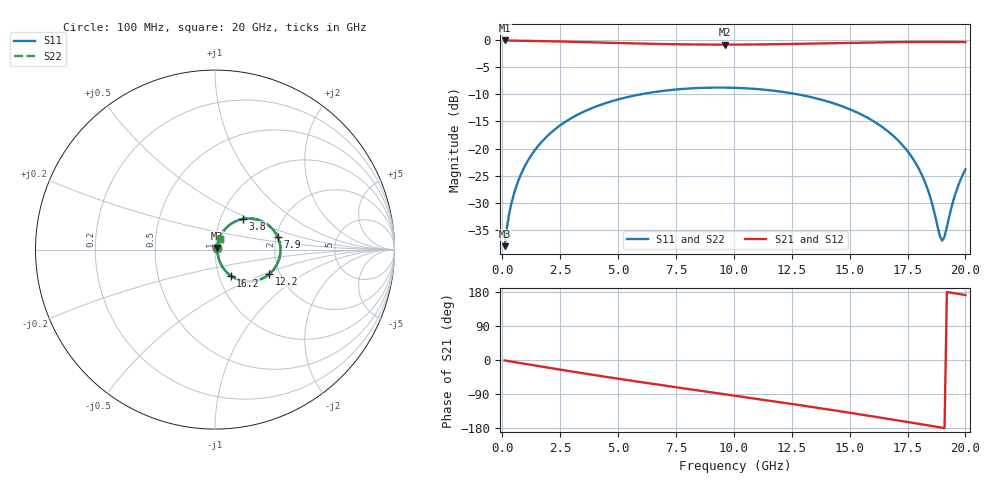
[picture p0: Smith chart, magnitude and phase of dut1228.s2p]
! Touchstone file exported from HFSS 2026.1.0
!  File:  C:/ffzhzh/LocalFiles/Ansys_Project_Files/temp_train_TSV_RDL_1228_1783322083_39728.aedt
!  Generated:  03:25:24 PM Jul  6, 2026
!  Design:  TSV_RDL
!  Project:  temp_train_TSV_RDL_1228_1783322083_39728
! Variables:
!  h_bsmrdl = 3.47um
!  h_ox = 20um
!  h_rdl = 5um
!  h_sub = 77.95um
!  h_tmrdl = 5.36um
!  h_tsv = 77.95um
!  h_via = 3um
!  l_bsmrdl = 452.22um
!  l_sub = 3162.65um
!  l_tmrdl = 309.7um
!  m_sub = 200um
!  pitch = 46.47um
!  r_tsv = 9.34um
!  s_tmrdl = 10um
!  w_bsmrdl = 26.91um
!  w_sub = 500um
!  w_tmrdl = 28.82um
!  x_tsv_center1 = 324.11um
!  x_tsv_center2 = 803.24um
!  x_tsv_center3 = 1141.76um
!  x_tsv_center4 = 1620.89um
!  x_tsv_center5 = 1959.41um
!  x_tsv_center6 = 2438.54um
# GHz S MA R 50.000000
! Terminal data exported
! Port[1] = TM_RDL1_1_T1
! Port[2] = TM_RDL5_1_T1
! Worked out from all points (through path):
!   200 points, 100 MHz to 20 GHz, reference 50 ohm
!   highest |S21| = -0.09 dB at 100 MHz (marker M1); lowest = -0.8 dB at 9.6 GHz (marker M2)
!   group delay of S21, straight-line fit = 25.6 ps
!   lowest |S11| = -38.0 dB at 100 MHz (marker M3), VSWR 1.03, Z = 51 + j0.799 ohm
!   |S11| at or under -10 dB: start of sweep to 5.984 GHz; 12.74 GHz to end of sweep
!   |S22| runs from -38.0 to -8.8 dB; largest |S21 - S12| = 7.1e-13
!   S11 on the Smith chart (normalised r, x): 100 MHz: 1.02, +0.02; 3.8 GHz: 1.28, +0.46; 7.9 GHz: 2.03, +0.34; 12.2 GHz: 1.75, -0.54; 16.2 GHz: 1.14, -0.34; 20 GHz: 1.04, +0.12
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0.1  0.01265 38.3  0.9902 -1.1  0.9902 -1.1  0.01265 38.3
! Gamma 0 0 0 0
! Port Impedance 50 0 50 0
0.3  0.02528 60.2  0.9885 -3.2  0.9885 -3.2  0.02528 60.2
0.5  0.03816 65.9  0.9868 -5.3  0.9868 -5.3  0.03816 65.9
1.1  0.07709 68.4  0.9829 -11.4  0.9829 -11.4  0.07709 68.4
2.1  0.1401 62.1  0.9742 -21.5  0.9742 -21.5  0.1401 62.1
3.5  0.2178 50.0  0.9574 -35.2  0.9574 -35.2  0.2178 50.0
3.8  0.2325 47.4  0.9535 -38.1  0.9535 -38.1  0.2325 47.4
6.8  0.3369 21.0  0.9189 -65.7  0.9189 -65.7  0.3369 21.0
7.9  0.3558 11.7  0.9112 -75.4  0.9112 -75.4  0.3557 11.7
9.6  0.3645 -2.6  0.9068 -90.3  0.9068 -90.3  0.3645 -2.6
10.1  0.3625 -6.8  0.9073 -94.6  0.9073 -94.6  0.3625 -6.8
12.2  0.3306 -24.6  0.9171 -113.2  0.9171 -113.2  0.3306 -24.6
13.4  0.2956 -35.0  0.927 -124.2  0.927 -124.2  0.2956 -35.0
16.2  0.1698 -58.8  0.9522 -150.8  0.9522 -150.8  0.1697 -58.8
16.7  0.1418 -62.7  0.9556 -155.7  0.9556 -155.7  0.1418 -62.7
17.5  0.0948 -67.6  0.9596 -163.6  0.9596 -163.6  0.09479 -67.6
18.1  0.05851 -68.0  0.9612 -169.6  0.9612 -169.6  0.05849 -68.0
18.5  0.03471 -61.8  0.9615 -173.6  0.9615 -173.6  0.03469 -61.8
19  0.0142 -1.3  0.9611 -178.6  0.9611 -178.6  0.01417 -1.2
19.1  0.0155 21.8  0.9609 -179.6  0.9609 -179.6  0.01548 21.9
19.6  0.04028 62.7  0.9594 175.3  0.9594 175.3  0.04028 62.7
20  0.0642 66.6  0.9575 171.4  0.9575 171.4  0.0642 66.7
